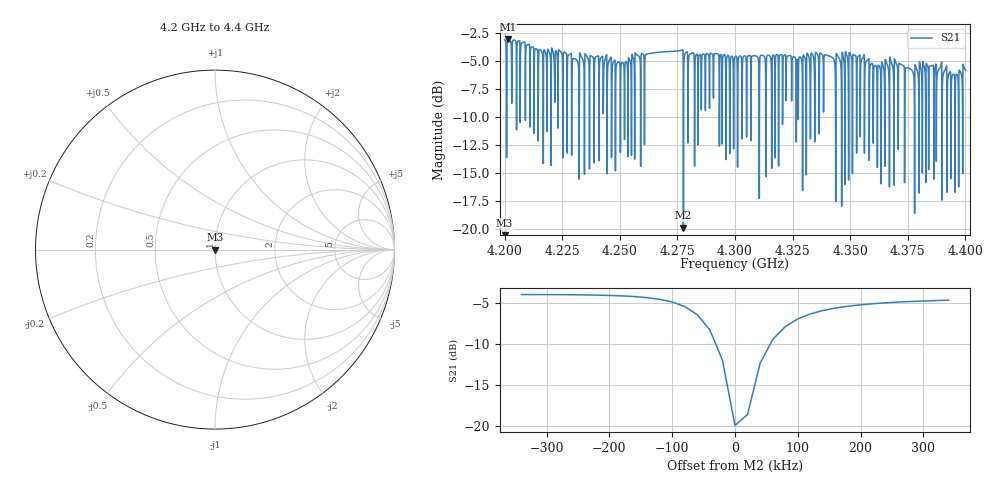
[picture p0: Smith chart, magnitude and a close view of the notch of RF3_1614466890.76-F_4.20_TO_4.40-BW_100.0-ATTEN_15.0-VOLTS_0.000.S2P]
!Keysight Technologies,E5063A,MY54502693,A.05.04
!Date: Sat Feb 27 16:01:49 2021
!Data & Calibration Information:
!Freq	S11:NONE(--)	S21:NONE(--)	S12:NONE(--)	S22:NONE(--)
# Hz S RI R 50
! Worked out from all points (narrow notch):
!   10000 points, 4.2 GHz to 4.4 GHz, reference 50 ohm
!   highest |S21| = -3.02 dB at 4.2015 GHz (marker M1); lowest = -19.9 dB at 4.2776 GHz (marker M2)
!   notch at M2: 15.2 dB deep, 59.5 kHz wide at half that depth
!   lowest |S11| = - dB at 4.2 GHz (marker M3), VSWR 1.00, Z = 50 + j0 ohm
!   |S11| at or under -10 dB: start of sweep to end of sweep
!   S12 and S22 are empty: the file has one direction only
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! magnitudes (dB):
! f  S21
! 4.2 GHz  -3.1
! 4.2015 GHz  -3.0
! 4.2079 GHz  -3.3
! 4.2175 GHz  -4.1
! 4.2333 GHz  -4.6
! 4.2512 GHz  -5.1
! 4.2576 GHz  -4.5
! 4.2599 GHz  -4.3
! 4.2667 GHz  -4.2
! 4.2776 GHz  -19.9
! 4.2919 GHz  -4.3
! 4.2952 GHz  -4.4
! 4.3 GHz  -4.6
! 4.3334 GHz  -4.3
! 4.3667 GHz  -5.8
! 4.3721 GHz  -5.3
! 4.3804 GHz  -5.4
! 4.3852 GHz  -5.4
! 4.3871 GHz  -5.3
! 4.3888 GHz  -5.7
! 4.393 GHz  -6.0
! 4.4 GHz  -5.8
